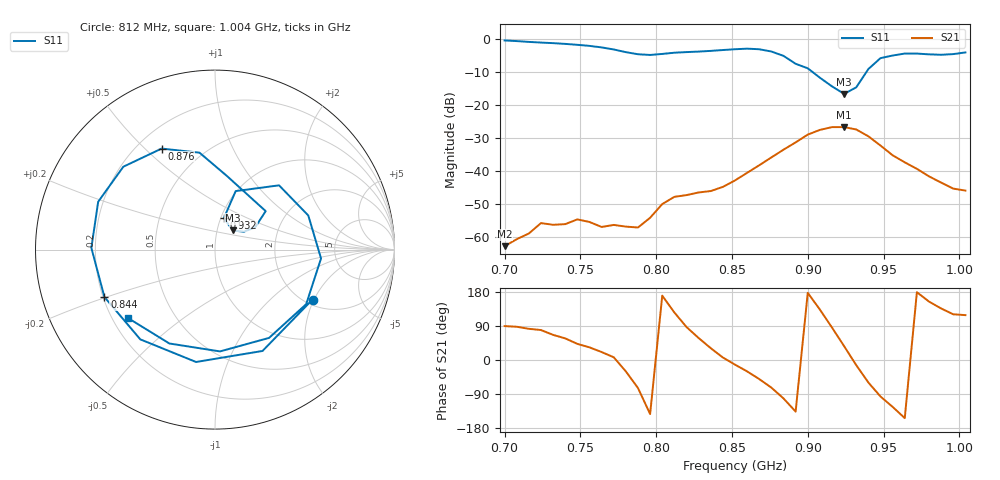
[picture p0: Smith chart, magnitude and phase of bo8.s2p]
# Hz S RI R 50
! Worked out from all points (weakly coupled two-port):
!   39 points, 700 MHz to 1.004 GHz, reference 50 ohm
!   highest |S21| = -26.82 dB at 924 MHz (marker M1); lowest = -62.9 dB at 700 MHz (marker M2)
!   lowest |S11| = -16.8 dB at 924 MHz (marker M3), VSWR 1.34, Z = 59.4 + j13 ohm
!   |S11| at or under -10 dB: 902.8 MHz to 938.9 MHz (36.1 MHz wide, 3.92 % of centre)
!   S12 and S22 are empty: the file has one direction only
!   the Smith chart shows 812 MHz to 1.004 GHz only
!   S11 on the Smith chart (normalised r, x): 812 MHz: 2.19, -1.95; 844 MHz: 0.21, -0.20; 876 MHz: 0.30, +0.56; 932 MHz: 1.04, +0.38; 1.004 GHz: 0.26, -0.32
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7e8  0.7511 0.5584  6.71e-06 0.000717  0 0  0 0
7.24e8  0.8372 -0.2345  0.000304 0.00158  0 0  0 0
7.4e8  0.4588 -0.692  0.000841 0.0013  0 0  0 0
7.56e8  -0.1845 -0.7522  0.00139 0.000917  0 0  0 0
7.72e8  -0.6541 -0.1974  0.00149 0.000187  0 0  0 0
7.8e8  -0.581 0.2231  0.00123 -0.000713  0 0  0 0
7.88e8  -0.2353 0.5287  0.00038 -0.00132  0 0  0 0
7.96e8  0.2401 0.5109  -0.00154 -0.00117  0 0  0 0
8.04e8  0.5611 0.1659  -0.00307 0.000549  0 0  0 0
8.12e8  0.5434 -0.2784  -0.00232 0.00327  0 0  0 0
8.28e8  -0.1056 -0.6261  0.00247 0.00396  0 0  0 0
8.44e8  -0.616 -0.2642  0.00563 0.000652  0 0  0 0
8.52e8  -0.6888 0.00965  0.00694 -0.00151  0 0  0 0
8.76e8  -0.2974 0.5629  0.00465 -0.0151  0 0  0 0
9e8  0.2824 0.2143  -0.0351 0.00168  0 0  0 0
9.08e8  0.2234 0.1237  -0.0283 0.0302  0 0  0 0
9.24e8  0.0985 0.1069  0.0367 0.0271  0 0  0 0
9.32e8  0.0497 0.1756  0.0408 -0.00994  0 0  0 0
9.48e8  0.3568 0.3581  -0.00267 -0.0238  0 0  0 0
9.56e8  0.5197 0.1903  -0.00949 -0.0142  0 0  0 0
9.8e8  0.3013 -0.4919  -0.00737 0.00357  0 0  0 0
1.004e9  -0.4844 -0.3815  -0.00237 0.00438  0 0  0 0
